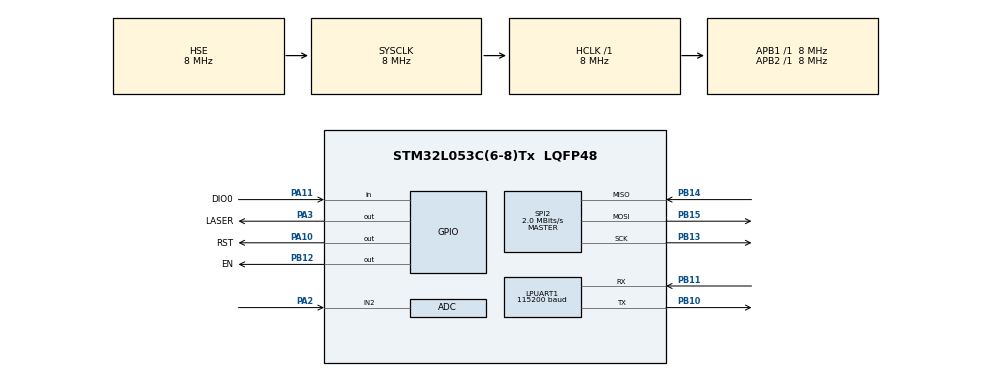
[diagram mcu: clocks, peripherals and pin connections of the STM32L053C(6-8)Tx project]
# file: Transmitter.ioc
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Mcu.Family=STM32L0
RCC.MSI_VALUE=2097000
RCC.PLLSourceVirtual=RCC_PLLSOURCE_HSE
PH0-OSC_IN.Signal=RCC_OSC_IN
SPI2.VirtualType=VM_MASTER
PB10.Mode=Asynchronous
PA11.GPIO_Label=DIO0
LPUART1.WordLength=UART_WORDLENGTH_8B
PB11.Signal=LPUART1_RX
PB13.Signal=SPI2_SCK
PB15.Signal=SPI2_MOSI
RCC.SYSCLKSource=RCC_SYSCLKSOURCE_HSE
ProjectManager.StackSize=0x400
PA13.Signal=SYS_SWDIO
RCC.HSI16_VALUE=16000000
RCC.PLLDIV=RCC_PLLDIV_3
PB11.Mode=Asynchronous
ProjectManager.TargetToolchain=STM32CubeIDE
RCC.HCLKFreq_Value=8000000
RCC.APB2TimFreq_Value=8000000
RCC.LSE_VALUE=32768
RCC.AHBFreq_Value=8000000
SPI2.BaudRatePrescaler=SPI_BAUDRATEPRESCALER_4
PH0-OSC_IN.Mode=HSE-External-Oscillator
PB10.Signal=LPUART1_TX
ADC.SamplingTime=ADC_SAMPLETIME_39CYCLES_5
PB14.Signal=SPI2_MISO
RCC.HSE_VALUE=8000000
board=custom
RCC.VCOOutputFreq_Value=24000000
PB15.Mode=Full_Duplex_Master
PB12.GPIO_Label=EN
RCC.APB2Freq_Value=8000000
PA14.Mode=Serial_Wire
PB14.Mode=Full_Duplex_Master
PA10.GPIO_Label=RST
SPI2.CalculateBaudRate=2.0 MBits/s
PH1-OSC_OUT.Signal=RCC_OSC_OUT
PA13.Mode=Serial_Wire
Mcu.Name=STM32L053C(6-8)Tx
LPUART1.BaudRate=115200
PA2.Signal=ADC_IN2
PH1-OSC_OUT.Mode=HSE-External-Oscillator
RCC.SYSCLKFreq_VALUE=8000000
Mcu.Package=LQFP48
SPI2.Mode=SPI_MODE_MASTER
PA11.Signal=GPIO_Input
PA10.Signal=GPIO_Output
PA14.Signal=SYS_SWCLK
ProjectManager.HeapSize=0x200
RCC.HSI_VALUE=16000000
RCC.APB1TimFreq_Value=8000000
PA2.Mode=IN2
SPI2.Direction=SPI_DIRECTION_2LINES
PB13.Mode=Full_Duplex_Master
RCC.APB1Freq_Value=8000000
ADC.ContinuousConvMode=ENABLE
PB12.Signal=GPIO_Output
RCC.HSI48_VALUE=48000000
PA3.GPIO_Label=LASER
PA3.Signal=GPIO_Output

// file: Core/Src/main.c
/* USER CODE BEGIN Header */
/**
  ******************************************************************************
  * @file           : main.c
  * @brief          : Main program body
  ******************************************************************************
  * @attention
  *
  * <h2><center>&copy; Copyright (c) 2021 STMicroelectronics.
  * All rights reserved.</center></h2>
  *
  * This software component is licensed by ST under BSD 3-Clause license,
  * the "License"; You may not use this file except in compliance with the
  * License. You may obtain a copy of the License at:
  *                        opensource.org/licenses/BSD-3-Clause
  *
  ******************************************************************************
  */
/* USER CODE END Header */
#include "main.h"

/* USER CODE BEGIN Includes */
#include "SX1278.h"
#include <stdlib.h>
#include <string.h>
#include <stdio.h>
#include <stdbool.h>
/* USER CODE END Includes */

/* USER CODE BEGIN PTD */
SX1278_hw_t SX1278_hw;
SX1278_t SX1278;

int master;
int ret;

char buffer[512];

int message_length;

uint8_t responseData[40];
uint8_t responseDataSize = 0;
/* USER CODE END PTD */

ADC_HandleTypeDef hadc;

UART_HandleTypeDef hlpuart1;

SPI_HandleTypeDef hspi2;

/* USER CODE BEGIN PV */
void lw20Connect(void);
bool lw20SendCommand(char* CommandStr);
float getNumberFromResponse(char* RespnseStr);
float lw20GetDistance(void);
float lw20GetStrength(void);
/* USER CODE END PV */

void SystemClock_Config(void);
static void MX_GPIO_Init(void);
static void MX_ADC_Init(void);
static void MX_LPUART1_UART_Init(void);
static void MX_SPI2_Init(void);
/* USER CODE BEGIN PFP */
uint8_t distance;
uint8_t channel;
/* USER CODE END PFP */

int main(void)
{

  /* MCU Configuration--------------------------------------------------------*/

  /* Reset of all peripherals, Initializes the Flash interface and the Systick. */
  HAL_Init();

  /* Configure the system clock */
  SystemClock_Config();

  /* Initialize all configured peripherals */
  MX_GPIO_Init();
  MX_ADC_Init();
  MX_LPUART1_UART_Init();
  MX_SPI2_Init();
  /* USER CODE BEGIN 2 */
  lw20Connect();
  HAL_GPIO_WritePin(LASER_GPIO_Port, LASER_Pin, SET);
	//initialize LoRa module
  SX1278_hw.dio0.port = DIO0_GPIO_Port;
  SX1278_hw.dio0.pin = DIO0_Pin;
  SX1278_hw.nss.port = EN_GPIO_Port;
  SX1278_hw.nss.pin = EN_Pin;
  SX1278_hw.reset.port = RST_GPIO_Port;
  SX1278_hw.reset.pin = RST_Pin;
  SX1278_hw.spi = &hspi2;
  SX1278.hw = &SX1278_hw;

  SX1278_init(&SX1278, 434000000, SX1278_POWER_17DBM, SX1278_LORA_SF_7,
  SX1278_LORA_BW_125KHZ, SX1278_LORA_CR_4_5, SX1278_LORA_CRC_EN, 10);

  ret = SX1278_LoRaEntryTx(&SX1278, 16, 2000);

  /* USER CODE END 2 */

  /* Infinite loop */
  while (1)
  {

    /* USER CODE BEGIN 3 */
    HAL_ADC_Start(&hadc);
    HAL_ADC_PollForConversion(&hadc, HAL_MAX_DELAY);
    channel = (HAL_ADC_GetValue(&hadc)-40)/410;
    HAL_ADC_Stop(&hadc);
	HAL_Delay(1000);
	if(abs(3.28*lw20GetDistance()-distance)>=1){
		distance = (uint8_t)3.28*lw20GetDistance();
		message_length = sprintf(buffer,"%d:%d", channel, distance);
		while(!SX1278_LoRaEntryTx(&SX1278, message_length, 2000));
		while(!SX1278_LoRaTxPacket(&SX1278, (uint8_t*) buffer, message_length, 2000));
	}

  }
  /* USER CODE END 3 */
}

void SystemClock_Config(void)
{
  RCC_OscInitTypeDef RCC_OscInitStruct = {0};
  RCC_ClkInitTypeDef RCC_ClkInitStruct = {0};
  RCC_PeriphCLKInitTypeDef PeriphClkInit = {0};

  /** Configure the main internal regulator output voltage
  */
  __HAL_PWR_VOLTAGESCALING_CONFIG(PWR_REGULATOR_VOLTAGE_SCALE1);
  /** Initializes the RCC Oscillators according to the specified parameters
  * in the RCC_OscInitTypeDef structure.
  */
  RCC_OscInitStruct.OscillatorType = RCC_OSCILLATORTYPE_HSE;
  RCC_OscInitStruct.HSEState = RCC_HSE_ON;
  RCC_OscInitStruct.PLL.PLLState = RCC_PLL_NONE;
  if (HAL_RCC_OscConfig(&RCC_OscInitStruct) != HAL_OK)
  {
    Error_Handler();
  }
  /** Initializes the CPU, AHB and APB buses clocks
  */
  RCC_ClkInitStruct.ClockType = RCC_CLOCKTYPE_HCLK|RCC_CLOCKTYPE_SYSCLK
                              |RCC_CLOCKTYPE_PCLK1|RCC_CLOCKTYPE_PCLK2;
  RCC_ClkInitStruct.SYSCLKSource = RCC_SYSCLKSOURCE_HSE;
  RCC_ClkInitStruct.AHBCLKDivider = RCC_SYSCLK_DIV1;
  RCC_ClkInitStruct.APB1CLKDivider = RCC_HCLK_DIV1;
  RCC_ClkInitStruct.APB2CLKDivider = RCC_HCLK_DIV1;

  if (HAL_RCC_ClockConfig(&RCC_ClkInitStruct, FLASH_LATENCY_0) != HAL_OK)
  {
    Error_Handler();
  }
  PeriphClkInit.PeriphClockSelection = RCC_PERIPHCLK_LPUART1;
  PeriphClkInit.Lpuart1ClockSelection = RCC_LPUART1CLKSOURCE_PCLK1;
  if (HAL_RCCEx_PeriphCLKConfig(&PeriphClkInit) != HAL_OK)
  {
    Error_Handler();
  }
}

static void MX_ADC_Init(void)
{

  ADC_ChannelConfTypeDef sConfig = {0};

  /** Configure the global features of the ADC (Clock, Resolution, Data Alignment and number of conversion)
  */
  hadc.Instance = ADC1;
  hadc.Init.OversamplingMode = DISABLE;
  hadc.Init.ClockPrescaler = ADC_CLOCK_SYNC_PCLK_DIV1;
  hadc.Init.Resolution = ADC_RESOLUTION_12B;
  hadc.Init.SamplingTime = ADC_SAMPLETIME_39CYCLES_5;
  hadc.Init.ScanConvMode = ADC_SCAN_DIRECTION_FORWARD;
  hadc.Init.DataAlign = ADC_DATAALIGN_RIGHT;
  hadc.Init.ContinuousConvMode = ENABLE;
  hadc.Init.DiscontinuousConvMode = DISABLE;
  hadc.Init.ExternalTrigConvEdge = ADC_EXTERNALTRIGCONVEDGE_NONE;
  hadc.Init.ExternalTrigConv = ADC_SOFTWARE_START;
  hadc.Init.DMAContinuousRequests = DISABLE;
  hadc.Init.EOCSelection = ADC_EOC_SINGLE_CONV;
  hadc.Init.Overrun = ADC_OVR_DATA_PRESERVED;
  hadc.Init.LowPowerAutoWait = DISABLE;
  hadc.Init.LowPowerFrequencyMode = DISABLE;
  hadc.Init.LowPowerAutoPowerOff = DISABLE;
  if (HAL_ADC_Init(&hadc) != HAL_OK)
  {
    Error_Handler();
  }
  /** Configure for the selected ADC regular channel to be converted.
  */
  sConfig.Channel = ADC_CHANNEL_2;
  sConfig.Rank = ADC_RANK_CHANNEL_NUMBER;
  if (HAL_ADC_ConfigChannel(&hadc, &sConfig) != HAL_OK)
  {
    Error_Handler();
  }

}

static void MX_LPUART1_UART_Init(void)
{

  hlpuart1.Instance = LPUART1;
  hlpuart1.Init.BaudRate = 115200;
  hlpuart1.Init.WordLength = UART_WORDLENGTH_8B;
  hlpuart1.Init.StopBits = UART_STOPBITS_1;
  hlpuart1.Init.Parity = UART_PARITY_NONE;
  hlpuart1.Init.Mode = UART_MODE_TX_RX;
  hlpuart1.Init.HwFlowCtl = UART_HWCONTROL_NONE;
  hlpuart1.Init.OneBitSampling = UART_ONE_BIT_SAMPLE_DISABLE;
  hlpuart1.AdvancedInit.AdvFeatureInit = UART_ADVFEATURE_NO_INIT;
  if (HAL_UART_Init(&hlpuart1) != HAL_OK)
  {
    Error_Handler();
  }

}

static void MX_SPI2_Init(void)
{

  /* SPI2 parameter configuration*/
  hspi2.Instance = SPI2;
  hspi2.Init.Mode = SPI_MODE_MASTER;
  hspi2.Init.Direction = SPI_DIRECTION_2LINES;
  hspi2.Init.DataSize = SPI_DATASIZE_8BIT;
  hspi2.Init.CLKPolarity = SPI_POLARITY_LOW;
  hspi2.Init.CLKPhase = SPI_PHASE_1EDGE;
  hspi2.Init.NSS = SPI_NSS_SOFT;
  hspi2.Init.BaudRatePrescaler = SPI_BAUDRATEPRESCALER_4;
  hspi2.Init.FirstBit = SPI_FIRSTBIT_MSB;
  hspi2.Init.TIMode = SPI_TIMODE_DISABLE;
  hspi2.Init.CRCCalculation = SPI_CRCCALCULATION_DISABLE;
  hspi2.Init.CRCPolynomial = 7;
  if (HAL_SPI_Init(&hspi2) != HAL_OK)
  {
    Error_Handler();
  }

}

static void MX_GPIO_Init(void)
{
  GPIO_InitTypeDef GPIO_InitStruct = {0};

  /* GPIO Ports Clock Enable */
  __HAL_RCC_GPIOH_CLK_ENABLE();
  __HAL_RCC_GPIOA_CLK_ENABLE();
  __HAL_RCC_GPIOB_CLK_ENABLE();

  /*Configure GPIO pin Output Level */
  HAL_GPIO_WritePin(GPIOA, LASER_Pin|RST_Pin, GPIO_PIN_RESET);

  /*Configure GPIO pin Output Level */
  HAL_GPIO_WritePin(EN_GPIO_Port, EN_Pin, GPIO_PIN_RESET);

  /*Configure GPIO pins : LASER_Pin RST_Pin */
  GPIO_InitStruct.Pin = LASER_Pin|RST_Pin;
  GPIO_InitStruct.Mode = GPIO_MODE_OUTPUT_PP;
  GPIO_InitStruct.Pull = GPIO_NOPULL;
  GPIO_InitStruct.Speed = GPIO_SPEED_FREQ_LOW;
  HAL_GPIO_Init(GPIOA, &GPIO_InitStruct);

  /*Configure GPIO pin : EN_Pin */
  GPIO_InitStruct.Pin = EN_Pin;
  GPIO_InitStruct.Mode = GPIO_MODE_OUTPUT_PP;
  GPIO_InitStruct.Pull = GPIO_NOPULL;
  GPIO_InitStruct.Speed = GPIO_SPEED_FREQ_LOW;
  HAL_GPIO_Init(EN_GPIO_Port, &GPIO_InitStruct);

  /*Configure GPIO pin : DIO0_Pin */
  GPIO_InitStruct.Pin = DIO0_Pin;
  GPIO_InitStruct.Mode = GPIO_MODE_INPUT;
  GPIO_InitStruct.Pull = GPIO_NOPULL;
  HAL_GPIO_Init(DIO0_GPIO_Port, &GPIO_InitStruct);

}

/* USER CODE BEGIN 4 */
void lw20Connect(void)
{
  char pData[] = "www\r\n";
  HAL_UART_Transmit(&hlpuart1, (uint8_t*)pData, sizeof(pData), 1000);
  // Send some characters to make sure the LW20 switches to serial mode.
}

bool lw20SendCommand(char* CommandStr)
{
	uint8_t buffer1 = 0;
	HAL_UART_Transmit(&hlpuart1, (uint8_t*)CommandStr, sizeof(CommandStr), 1000);
	responseDataSize = 0;
	HAL_UART_Receive(&hlpuart1, &buffer1, 1, 1000);
	if(buffer1 == '\n'){
		responseData[responseDataSize] = 0;
		return true;
	} else if(buffer1 != '\r'){
		if(responseDataSize == sizeof(responseData)-1){
			responseDataSize = 0;
		}

		responseData[responseDataSize++] = (char) buffer1;
	}

	return false;
}

float getNumberFromResponse(char* ResponseStr)
{
	uint8_t index = 0;

	while(true){
		if(ResponseStr[index] == 0)
			break;
		if(ResponseStr[index] == ':')
			return atof(ResponseStr+index+1);
		++index;
	}

	return 0.0f;
}

float lw20GetDistance(void){
	if(lw20SendCommand("?ldl\r\n"))
		return getNumberFromResponse((char*)responseData);
	return 0.0f;
}

float lw20GetStrength(void){
	if(lw20SendCommand("?lh\r\n"))
		return getNumberFromResponse((char*)responseData);
	return 0.0f;
}
/* USER CODE END 4 */

void Error_Handler(void)
{
  __disable_irq();
  while (1)
  {
  }
}

/************************ (C) COPYRIGHT STMicroelectronics *****END OF FILE****/
